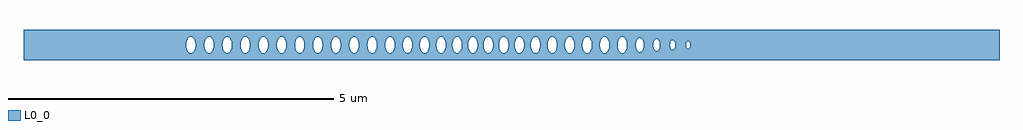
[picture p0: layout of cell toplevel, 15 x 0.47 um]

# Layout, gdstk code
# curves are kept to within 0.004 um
import gdstk
lib = gdstk.Library(unit=1e-6, precision=1e-09)
def P(c, l, *ps):  # polygons
    for p in ps: c.add(gdstk.Polygon(p, *l))
L0_0 = (0, 0)

toplevel = lib.new_cell('toplevel')
P(toplevel, L0_0, [(-4.441,0.016),(-4.437,0.047),(-4.419,0.093),(-4.396,0.119),(-4.379,0.126),(-4.379,0.234),(-7.5,0.234),(-7.5,-0.016),(-4.999,-0.016),(-4.996,0.039),(-4.985,0.075),(-4.962,0.112),(-4.927,0.128),(-4.9,0.119),(-4.877,0.093),(-4.859,0.047),(-4.855,-0.016),(-4.72,-0.016),(-4.718,0.032),(-4.707,0.075),(-4.683,0.112),(-4.648,0.128),(-4.621,0.119),(-4.602,0.098),(-4.587,0.068),(-4.576,0.016),(-4.579,-0.039),(-4.592,-0.081),(-4.621,-0.119),(-4.648,-0.128),(-4.675,-0.119),(-4.698,-0.093),(-4.712,-0.061),(-4.72,-0.016),(-4.855,-0.016),(-4.859,-0.047),(-4.877,-0.093),(-4.9,-0.119),(-4.927,-0.128),(-4.953,-0.119),(-4.973,-0.098),(-4.988,-0.068),(-4.999,-0.016),(-7.5,-0.016),(-7.5,-0.234),(-4.379,-0.234),(-4.379,-0.126),(-4.408,-0.108),(-4.428,-0.075),(-4.44,-0.032)],
  [(-4.299,-0.032),(-4.308,-0.068),(-4.331,-0.108),(-4.356,-0.125),(-4.379,-0.126),(-4.379,-0.234),(-4.056,-0.234),(-4.056,-0.112),(-4.091,-0.128),(-4.126,-0.112),(-4.147,-0.081),(-4.163,-0.016),(-4.158,0.047),(-4.147,0.081),(-4.13,0.108),(-4.118,0.119),(-4.091,0.128),(-4.056,0.112),(-4.056,0.234),(-4.379,0.234),(-4.379,0.126),(-4.343,0.119),(-4.32,0.093),(-4.299,0.032)],
  [(-3.754,-0.076),(-3.786,-0.119),(-3.812,-0.128),(-3.839,-0.119),(-3.871,-0.075),(-3.885,0),(-3.871,0.075),(-3.839,0.119),(-3.812,0.128),(-3.786,0.119),(-3.773,0.108),(-3.754,0.075),(-3.754,0.234),(-4.056,0.234),(-4.056,0.112),(-4.027,0.061),(-4.018,0),(-4.027,-0.061),(-4.056,-0.112),(-4.056,-0.234),(-3.754,-0.234)],
  [(-3.742,-0.032),(-3.754,-0.075),(-3.754,-0.234),(-3.322,-0.234),(-3.322,-0.047),(-3.327,-0.016),(-3.322,0.234),(-3.754,0.234),(-3.754,0.074),(-3.743,0.039),(-3.74,-0.008),(-3.606,-0.008),(-3.601,0.047),(-3.583,0.093),(-3.56,0.119),(-3.534,0.128),(-3.507,0.119),(-3.487,0.098),(-3.472,0.068),(-3.461,0.008),(-3.466,-0.047),(-3.484,-0.093),(-3.507,-0.119),(-3.534,-0.128),(-3.56,-0.119),(-3.58,-0.098),(-3.595,-0.068),(-3.606,-0.008),(-3.74,-0.008)],
  [(-3.318,0.061),(-3.305,0.093),(-3.282,0.119),(-3.255,0.128),(-3.228,0.119),(-3.196,0.075),(-3.186,0.039),(-3.183,-0.016),(-3.189,-0.054),(-3.205,-0.093),(-3.22,-0.112),(-3.241,-0.125),(-3.269,-0.125),(-3.29,-0.112),(-3.314,-0.075),(-3.322,-0.047),(-3.322,-0.234),(-2.999,-0.234),(-2.999,-0.121),(-3.023,-0.098),(-3.035,-0.075),(-3.049,-0.008),(-3.038,0.068),(-3.023,0.098),(-2.999,0.121),(-2.999,0.234),(-3.322,0.234),(-3.322,0.047)],
  [(-2.906,-0.032),(-2.918,-0.075),(-2.942,-0.112),(-2.976,-0.128),(-2.999,-0.121),(-2.999,-0.234),(-2.675,-0.234),(-2.675,-0.121),(-2.698,-0.128),(-2.737,-0.108),(-2.759,-0.068),(-2.77,-0.016),(-2.767,0.039),(-2.744,0.098),(-2.711,0.125),(-2.698,0.128),(-2.675,0.121),(-2.675,0.234),(-2.999,0.234),(-2.999,0.121),(-2.976,0.128),(-2.963,0.125),(-2.93,0.098),(-2.906,0.032)],
  [(-2.373,-0.098),(-2.406,-0.125),(-2.419,-0.128),(-2.446,-0.119),(-2.478,-0.075),(-2.492,0),(-2.478,0.075),(-2.446,0.119),(-2.419,0.128),(-2.406,0.125),(-2.373,0.098),(-2.373,0.234),(-2.675,0.234),(-2.675,0.121),(-2.655,0.103),(-2.639,0.075),(-2.625,0),(-2.639,-0.075),(-2.655,-0.103),(-2.675,-0.121),(-2.675,-0.234),(-2.373,-0.234)],
  [(-2.349,-0.032),(-2.373,-0.098),(-2.373,-0.234),(-1.939,-0.234),(-1.939,0.234),(-2.373,0.234),(-2.373,0.098),(-2.35,0.039),(-2.347,-0.008),(-2.214,-0.008),(-2.209,0.047),(-2.191,0.093),(-2.168,0.119),(-2.141,0.128),(-2.115,0.119),(-2.095,0.098),(-2.08,0.068),(-2.07,0.024),(-2.071,-0.032),(-2.083,-0.075),(-2.107,-0.112),(-2.141,-0.128),(-2.168,-0.119),(-2.188,-0.098),(-2.203,-0.068),(-2.214,-0.008),(-2.347,-0.008)],
  [(-1.936,0.039),(-1.926,0.075),(-1.906,0.108),(-1.881,0.125),(-1.853,0.125),(-1.828,0.108),(-1.808,0.075),(-1.798,0.039),(-1.795,-0.016),(-1.801,-0.054),(-1.817,-0.093),(-1.84,-0.119),(-1.867,-0.128),(-1.894,-0.119),(-1.917,-0.093),(-1.939,-0.016),(-1.939,-0.234),(-1.629,-0.234),(-1.629,-0.115),(-1.657,-0.075),(-1.671,0),(-1.657,0.075),(-1.629,0.115),(-1.629,0.234),(-1.939,0.234)],
  [(-1.528,-0.032),(-1.542,-0.081),(-1.571,-0.119),(-1.598,-0.128),(-1.629,-0.115),(-1.629,-0.234),(-1.327,-0.234),(-1.327,-0.126),(-1.359,-0.121),(-1.383,-0.098),(-1.398,-0.068),(-1.409,-0.008),(-1.404,0.047),(-1.383,0.098),(-1.363,0.119),(-1.327,0.126),(-1.327,0.234),(-1.629,0.234),(-1.629,0.115),(-1.598,0.128),(-1.571,0.119),(-1.552,0.098),(-1.529,0.039)],
  [(-1.03,-0.087),(-1.043,-0.108),(-1.064,-0.123),(-1.082,-0.128),(-1.109,-0.119),(-1.141,-0.075),(-1.155,-0.008),(-1.15,0.047),(-1.141,0.075),(-1.109,0.119),(-1.082,0.128),(-1.064,0.123),(-1.043,0.108),(-1.03,0.087),(-1.03,0.234),(-1.327,0.234),(-1.327,0.126),(-1.31,0.119),(-1.287,0.093),(-1.269,0.047),(-1.264,0.008),(-1.266,-0.032),(-1.278,-0.075),(-1.298,-0.108),(-1.327,-0.126),(-1.327,-0.234),(-1.03,-0.234)],
  [(-1.012,-0.032),(-1.03,-0.087),(-1.03,-0.234),(-0.666,-0.234),(-0.666,0.234),(-1.03,0.234),(-1.03,0.087),(-1.013,0.039),(-1.01,-0.008),(-0.908,-0.008),(-0.903,0.047),(-0.885,0.093),(-0.862,0.119),(-0.835,0.128),(-0.809,0.119),(-0.789,0.098),(-0.774,0.068),(-0.763,0.016),(-0.766,-0.039),(-0.779,-0.081),(-0.8,-0.112),(-0.835,-0.128),(-0.862,-0.119),(-0.885,-0.093),(-0.903,-0.047),(-0.908,-0.008),(-1.01,-0.008)],
  [(-0.663,0.039),(-0.653,0.075),(-0.633,0.108),(-0.608,0.125),(-0.58,0.125),(-0.555,0.108),(-0.535,0.075),(-0.525,0.039),(-0.522,-0.016),(-0.528,-0.054),(-0.544,-0.093),(-0.567,-0.119),(-0.594,-0.128),(-0.621,-0.119),(-0.644,-0.093),(-0.666,-0.016),(-0.666,-0.234),(-0.382,-0.234),(-0.382,-0.119),(-0.412,-0.081),(-0.428,-0.016),(-0.426,0.032),(-0.417,0.068),(-0.402,0.098),(-0.382,0.119),(-0.382,0.234),(-0.666,0.234)],
  [(-0.286,-0.032),(-0.297,-0.075),(-0.321,-0.112),(-0.356,-0.128),(-0.382,-0.119),(-0.382,-0.234),(-0.105,-0.234),(-0.105,-0.125),(-0.137,-0.123),(-0.165,-0.098),(-0.18,-0.068),(-0.191,-0.008),(-0.186,0.047),(-0.165,0.098),(-0.137,0.123),(-0.105,0.125),(-0.105,0.234),(-0.382,0.234),(-0.382,0.119),(-0.356,0.128),(-0.342,0.125),(-0.321,0.112),(-0.306,0.093),(-0.287,0.039)],
  [(0.18,-0.075),(0.148,-0.119),(0.121,-0.128),(0.094,-0.119),(0.065,-0.081),(0.049,-0.016),(0.051,0.032),(0.06,0.068),(0.075,0.098),(0.094,0.119),(0.121,0.128),(0.148,0.119),(0.18,0.075),(0.18,0.234),(-0.105,0.234),(-0.105,0.125),(-0.084,0.112),(-0.069,0.093),(-0.051,0.047),(-0.046,0.008),(-0.048,-0.032),(-0.06,-0.075),(-0.08,-0.108),(-0.105,-0.125),(-0.105,-0.234),(0.18,-0.234)],
  [(0.191,-0.032),(0.18,-0.075),(0.18,-0.234),(0.56,-0.234),(0.56,-0.047),(0.555,-0.016),(0.56,0.234),(0.18,0.234),(0.18,0.074),(0.19,0.039),(0.193,-0.008),(0.296,-0.008),(0.301,0.047),(0.319,0.093),(0.342,0.119),(0.369,0.128),(0.395,0.119),(0.415,0.098),(0.43,0.068),(0.441,0.016),(0.438,-0.039),(0.427,-0.075),(0.404,-0.112),(0.369,-0.128),(0.342,-0.119),(0.319,-0.093),(0.301,-0.047),(0.296,-0.008),(0.193,-0.008)],
  [(0.569,0.075),(0.588,0.108),(0.601,0.119),(0.627,0.128),(0.654,0.119),(0.686,0.075),(0.7,0),(0.686,-0.075),(0.666,-0.108),(0.641,-0.125),(0.614,-0.125),(0.592,-0.112),(0.571,-0.081),(0.56,-0.047),(0.56,-0.234),(0.855,-0.234),(0.855,-0.108),(0.832,-0.068),(0.821,-0.008),(0.832,0.068),(0.855,0.108),(0.855,0.234),(0.56,0.234),(0.56,0.047)],
  [(0.965,-0.024),(0.952,-0.075),(0.92,-0.119),(0.894,-0.128),(0.867,-0.119),(0.855,-0.108),(0.855,-0.234),(1.176,-0.234),(1.176,-0.125),(1.144,-0.123),(1.116,-0.098),(1.101,-0.068),(1.09,-0.008),(1.095,0.047),(1.116,0.098),(1.144,0.123),(1.176,0.125),(1.176,0.234),(0.855,0.234),(0.855,0.108),(0.867,0.119),(0.894,0.128),(0.92,0.119),(0.932,0.108),(0.961,0.047)],
  [(1.481,-0.093),(1.466,-0.112),(1.445,-0.125),(1.431,-0.128),(1.405,-0.119),(1.375,-0.081),(1.359,-0.016),(1.361,0.032),(1.37,0.068),(1.396,0.112),(1.418,0.125),(1.445,0.125),(1.466,0.112),(1.481,0.093),(1.481,0.234),(1.176,0.234),(1.176,0.125),(1.197,0.112),(1.212,0.093),(1.23,0.047),(1.235,0.008),(1.233,-0.032),(1.221,-0.075),(1.201,-0.108),(1.176,-0.125),(1.176,-0.234),(1.481,-0.234)],
  [(1.501,-0.032),(1.481,-0.093),(1.481,-0.234),(1.773,-0.234),(1.773,-0.035),(1.759,-0.081),(1.742,-0.108),(1.716,-0.125),(1.689,-0.125),(1.664,-0.108),(1.644,-0.075),(1.63,0),(1.644,0.075),(1.664,0.108),(1.689,0.125),(1.716,0.125),(1.742,0.108),(1.759,0.081),(1.773,0.032),(1.773,0.234),(1.481,0.234),(1.481,0.093),(1.499,0.047),(1.504,0.008)],
  [(2.202,-0.234),(2.202,-0.079),(2.184,-0.045),(2.178,-0.012),(2.184,0.045),(2.202,0.079),(2.202,0.234),(1.773,0.234),(1.775,-0.014),(1.91,-0.014),(1.914,0.041),(1.924,0.071),(1.949,0.103),(1.972,0.111),(1.995,0.103),(2.015,0.081),(2.034,0.014),(2.03,-0.041),(2.02,-0.071),(1.999,-0.1),(1.972,-0.111),(1.949,-0.103),(1.932,-0.085),(1.914,-0.041),(1.91,-0.014),(1.775,-0.014),(1.773,-0.234)],
  [(2.281,-0.018),(2.27,-0.06),(2.252,-0.085),(2.227,-0.094),(2.202,-0.079),(2.202,-0.234),(2.497,-0.234),(2.497,-0.067),(2.479,-0.077),(2.459,-0.07),(2.446,-0.053),(2.435,-0.01),(2.44,0.037),(2.454,0.065),(2.474,0.077),(2.497,0.067),(2.497,0.234),(2.202,0.234),(2.202,0.079),(2.217,0.091),(2.233,0.094),(2.261,0.076),(2.28,0.029)],
  [(2.517,-0.019),(2.511,-0.045),(2.497,-0.067),(2.497,-0.234),(7.5,-0.234),(7.5,0.234),(2.497,0.234),(2.497,0.067),(2.514,0.037),(2.518,-0.011),(2.685,-0.011),(2.693,0.041),(2.712,0.06),(2.735,0.049),(2.748,0.008),(2.741,-0.038),(2.72,-0.06),(2.699,-0.051),(2.685,-0.011),(2.518,-0.011)])

lib.write_gds('toplevel.gds')
